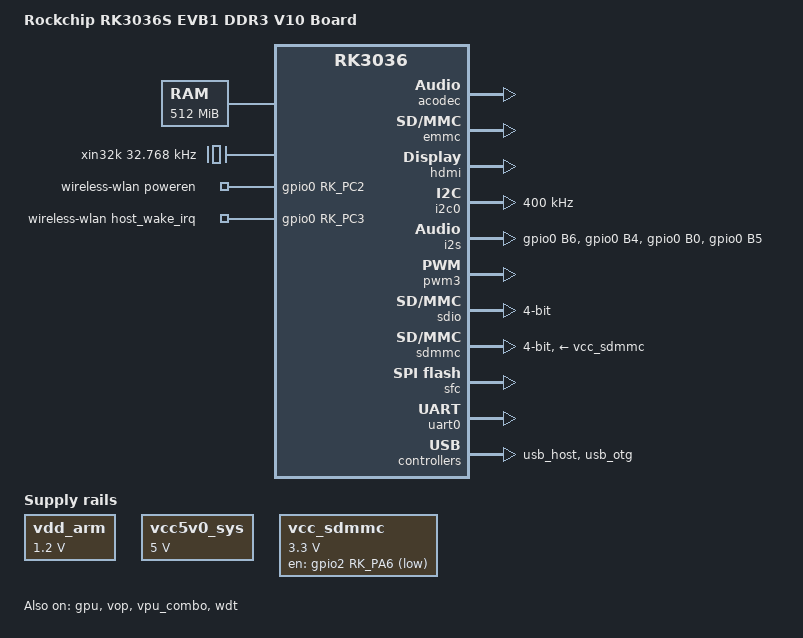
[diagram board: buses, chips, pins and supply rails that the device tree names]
// SPDX-License-Identifier: (GPL-2.0+ OR MIT)
/*
 * Copyright (c) 2024 Rockchip Electronics Co., Ltd
 *
 */

/dts-v1/;

#include "rk3036.dtsi"
#include <dt-bindings/input/input.h>

/ {
	model = "Rockchip RK3036S EVB1 DDR3 V10 Board";
	compatible = "rockchip,rk3036s-evb1-ddr3-v10", "rockchip,rk3036";

	chosen {
		bootargs = "console=uart8250,mmio32,0x20060000 rw root=PARTUUID=614e0000-0000 rootfstype=squashfs rootwait";
	};

	memory {
		device_type = "memory";
		reg = <0x60000000 0x20000000>;
	};

	multi_sounds: multi-sounds {
		status = "okay";
		compatible = "simple-audio-card";
		simple-audio-card,format = "i2s";
		simple-audio-card,mclk-fs = <256>;
		simple-audio-card,name = "rockchip,rk3036-sounds";
		simple-audio-card,dai-link@0 {
			format = "i2s";
			cpu {
				sound-dai = <&i2s>;
			};
			codec {
				sound-dai = <&acodec>;
			};
		};
		simple-audio-card,dai-link@1 {
			format = "i2s";
			cpu {
				sound-dai = <&i2s>;
			};
			codec {
				sound-dai = <&hdmi>;
			};
		};
	};

	vdd_arm: vdd-arm-regulator {
		compatible = "regulator-fixed";
		regulator-name = "vdd_arm";
		regulator-min-microvolt = <1200000>;
		regulator-max-microvolt = <1200000>;
		regulator-always-on;
		regulator-boot-on;
	};

	vcc5v0_sys: vsys-regulator {
		compatible = "regulator-fixed";
		regulator-name = "vcc5v0_sys";
		regulator-min-microvolt = <5000000>;
		regulator-max-microvolt = <5000000>;
		regulator-always-on;
		regulator-boot-on;
	};

	vcc_sdmmc: vcc-sdmmc{
		compatible = "regulator-fixed";
		gpio = <&gpio2 RK_PA6 GPIO_ACTIVE_HIGH>;
		regulator-name = "vcc_sdmmc";
		regulator-min-microvolt = <3300000>;
		regulator-max-microvolt = <3300000>;
	};

	xin32k: xin32k {
		compatible = "fixed-clock";
		clock-frequency = <32768>;
		clock-output-names = "xin32k";
		#clock-cells = <0>;
	};

	wireless-wlan {
		compatible = "wlan-platdata";

		wifi_chip_type = "rk915";
		WIFI,poweren_gpio = <&gpio0 RK_PC2 GPIO_ACTIVE_HIGH>;
		WIFI,host_wake_irq = <&gpio0 RK_PC3 GPIO_ACTIVE_HIGH>;
		status = "okay";
	};
};

&acodec {
	spk_ctl_io = <&gpio0 RK_PA1 GPIO_ACTIVE_LOW>;
	#sound-dai-cells = <0>;
	status = "okay";
};

&cpu0 {
	cpu-supply = <&vdd_arm>;
};

&cpu0_opp_table {
	/delete-node/ opp-408000000;
	/delete-node/ opp-1200000000;
};

&emmc {
	rockchip,default-sample-phase = <0>;
	status = "okay";
};

&gpu {
	status = "okay";
	mali-supply = <&vdd_arm>;
};

&hevc_mmu {
	status = "okay";
};

&hdmi {
	#sound-dai-cells = <0>;
	rockchip,phy-table =
		<74250000  0x1f 0x99>,
		<165000000 0x4f 0x99>,
		<000000000 0x00 0x00>;
	status = "okay";
};

&i2c0 {
	clock-frequency = <400000>;
	status = "okay";
};

&i2s {
	status = "okay";
	#sound-dai-cells = <0>;
	pinctrl-0 = <&i2s_sclk
		     &i2s_lrclktx
		     &i2s_sdo
		     &i2s_sdi>;
};

&pinctrl {
	i2s {
		i2s_mclk: i2s-mclk {
			rockchip,pins = <0 RK_PB1 2 &pcfg_pull_default>;
		};
		i2s_sclk: i2s-sclk {
			rockchip,pins = <0 RK_PB6 2 &pcfg_pull_default>;
		};
		i2s_lrclktx: i2s-lrclktx {
			rockchip,pins = <0 RK_PB4 2 &pcfg_pull_default>;
		};
		i2s_sdo: i2s-sdo {
			rockchip,pins = <0 RK_PB0 2 &pcfg_pull_default>;
		};
		i2s_sdi: i2s-sdi {
			rockchip,pins = <0 RK_PB5 2 &pcfg_pull_default>;
		};
	};

	usb {
		host_vbus_drv: host-vbus-drv {
			rockchip,pins = <2 RK_PD5 RK_FUNC_GPIO &pcfg_pull_none>;
		};
	};
};

&pwm3 {
	status = "okay";
	pinctrl-names = "default";
	pinctrl-0 = <&pwm3_pin>;
	compatible = "rockchip,remotectl-pwm";
	remote_pwm_id = <3>;
	handle_cpu_id = <1>;
	remote_support_psci = <1>;

	ir_key1 {
		rockchip,usercode = <0x4040>;
		rockchip,key_table =
			<0xf2	KEY_REPLY>,
			<0xba	KEY_BACK>,
			<0xf4	KEY_UP>,
			<0xf1	KEY_DOWN>,
			<0xef	KEY_LEFT>,
			<0xee	KEY_RIGHT>,
			<0xbd	KEY_HOME>,
			<0xea	KEY_VOLUMEUP>,
			<0xe3	KEY_VOLUMEDOWN>,
			<0xe2	KEY_SEARCH>,
			<0xb2	KEY_POWER>,
			<0xbc	KEY_MUTE>,
			<0xec	KEY_MENU>,
			<0xbf	0x190>,
			<0xe0	0x191>,
			<0xe1	0x192>,
			<0xe9	183>,
			<0xe6	248>,
			<0xe8	185>,
			<0xe7	186>,
			<0xf0	388>,
			<0xbe	0x175>;
	};

	ir_key2 {
		rockchip,usercode = <0xff00>;
		rockchip,key_table =
			<0xf9	KEY_HOME>,
			<0xbf	KEY_BACK>,
			<0xfb	KEY_MENU>,
			<0xaa	KEY_REPLY>,
			<0xb9	KEY_UP>,
			<0xe9	KEY_DOWN>,
			<0xb8	KEY_LEFT>,
			<0xea	KEY_RIGHT>,
			<0xeb	KEY_VOLUMEDOWN>,
			<0xef	KEY_VOLUMEUP>,
			<0xf7	KEY_MUTE>,
			<0xe7	KEY_POWER>,
			<0xfc	KEY_POWER>,
			<0xa9	KEY_VOLUMEDOWN>,
			<0xa8	KEY_PLAYPAUSE>,
			<0xe0	KEY_VOLUMEDOWN>,
			<0xa5	KEY_VOLUMEDOWN>,
			<0xab	183>,
			<0xb7	388>,
			<0xe8	388>,
			<0xf8	184>,
			<0xaf	185>,
			<0xed	KEY_VOLUMEDOWN>,
			<0xee	186>,
			<0xb3	KEY_VOLUMEDOWN>,
			<0xf1	KEY_VOLUMEDOWN>,
			<0xf2	KEY_VOLUMEDOWN>,
			<0xf3	KEY_SEARCH>,
			<0xb4	KEY_VOLUMEDOWN>,
			<0xa4	KEY_SETUP>,
			<0xbe	KEY_SEARCH>;
	};

	ir_key3 {
		rockchip,usercode = <0x1dcc>;
		rockchip,key_table =
			<0xee	KEY_REPLY>,
			<0xf0	KEY_BACK>,
			<0xf8	KEY_UP>,
			<0xbb	KEY_DOWN>,
			<0xef	KEY_LEFT>,
			<0xed	KEY_RIGHT>,
			<0xfc	KEY_HOME>,
			<0xf1	KEY_VOLUMEUP>,
			<0xfd	KEY_VOLUMEDOWN>,
			<0xb7	KEY_SEARCH>,
			<0xff	KEY_POWER>,
			<0xf3	KEY_MUTE>,
			<0xbf	KEY_MENU>,
			<0xf9	0x191>,
			<0xf5	0x192>,
			<0xb3	388>,
			<0xbe	KEY_1>,
			<0xba	KEY_2>,
			<0xb2	KEY_3>,
			<0xbd	KEY_4>,
			<0xf9	KEY_5>,
			<0xb1	KEY_6>,
			<0xfc	KEY_7>,
			<0xf8	KEY_8>,
			<0xb0	KEY_9>,
			<0xb6	KEY_0>,
			<0xb5	KEY_BACKSPACE>;
	};
};

&sdio {
	bus-width = <4>;
	max_frequency = <50000000>;
	cap-sd-highspeed;
	supports-sdio;
	ignore-pm-notify;
	keep-power-in-suspend;
	supports-rk912;
	/delete-property/ non-removable;

	pinctrl-names = "default";
	pinctrl-0 = <&sdio_clk &sdio_cmd &sdio_bus4>;
	status = "okay";
};

&sdmmc {
	bus-width = <4>;
	cap-mmc-highspeed;
	cap-sd-highspeed;
	card-detect-delay = <200>;
	disable-wp;
	num-slots = <1>;
	pinctrl-names = "default";
	pinctrl-0 = <&sdmmc_clk &sdmmc_cmd &sdmmc_cd &sdmmc_bus4>;
	supports-sd;
	rockchip,default-sample-phase = <90>;
	vmmc-supply = <&vcc_sdmmc>;
	status = "okay";
};

&sfc {
	status = "okay";
};

&uart0 {
	status = "okay";
};

&usb_host {
	status = "okay";
};

&usb_otg {
	status = "okay";
};

&vop {
	status = "okay";
};

&vop_mmu {
	status = "okay";
};

&vpu_combo {
	status = "okay";
};

&vpu_mmu {
	status = "okay";
};

&wdt {
	status = "okay";
};
